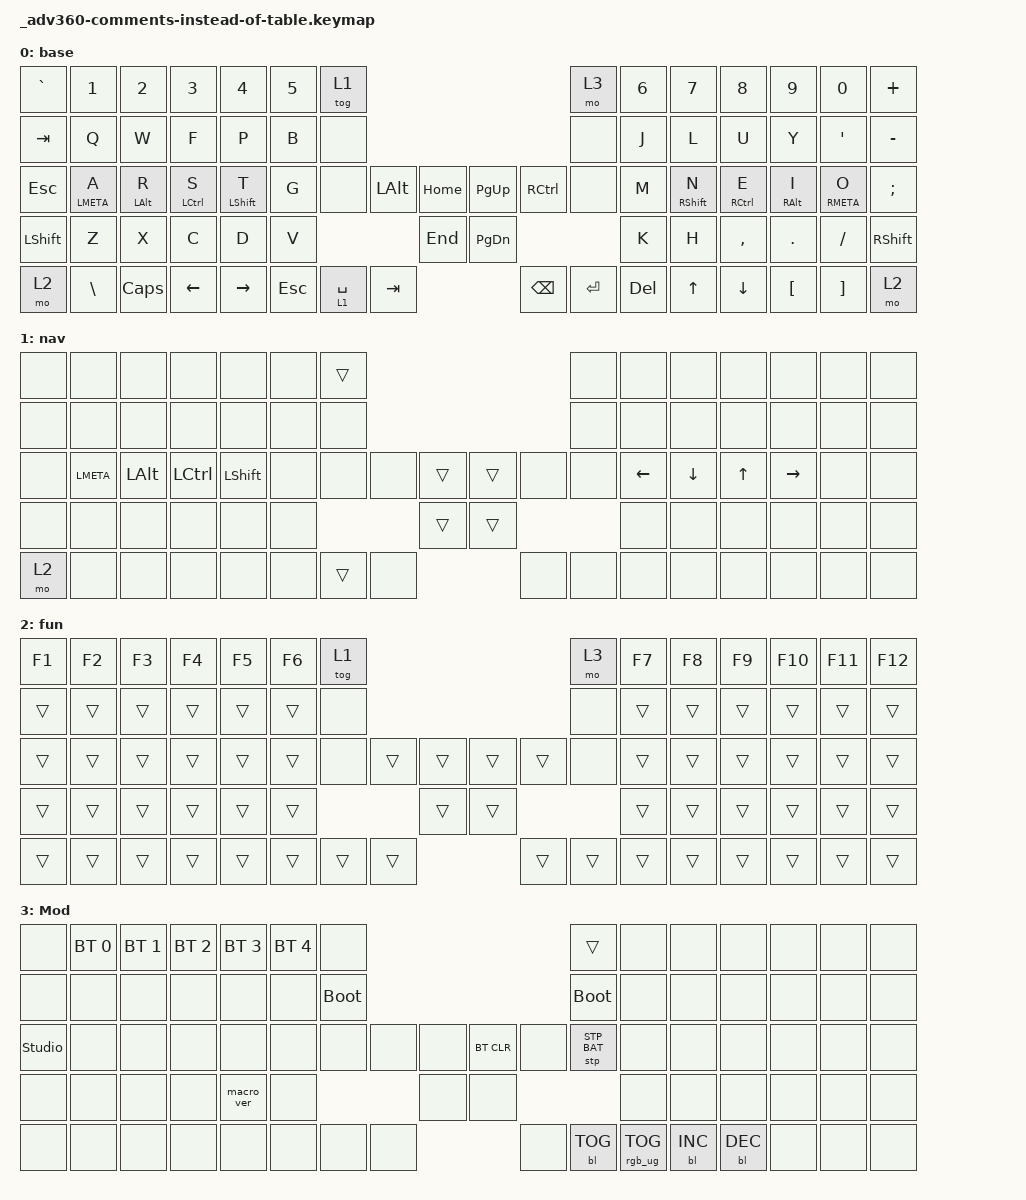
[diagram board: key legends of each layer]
#include <behaviors.dtsi>
#include <dt-bindings/zmk/stp.h>
#include <dt-bindings/zmk/backlight.h>
#include <dt-bindings/zmk/bt.h>
#include <dt-bindings/zmk/keys.h>
#include <dt-bindings/zmk/rgb.h>

// key position indices for setting valid hold triggers
// see assets/key-positions.png

/ {
    behaviors {
        #include "macros.dtsi"
        #include "version.dtsi"

        hm: homerow_mods {
            compatible = "zmk,behavior-hold-tap";
            //label = "HOMEROW_MODS"; // warning says label marked as deprecated
            flavor = "tap-preferred";
            tapping-term-ms = <200>;
            quick_tap_ms = <175>;
            #binding-cells = <2>;
            bindings = <&kp>, <&kp>;
        };
        slt: spacebar_layer_tap {
            compatible = "zmk,behavior-hold-tap";
            //label = "SPACE_LAYER_TAP";
            flavor = "tap-preferred";
            tapping-term-ms = <200>;
            //quick-tap-ms = <175>;
            //global-quick-tap;
            #binding-cells = <2>;
            bindings = <&mo>, <&kp>;
        };
    };

    keymap {
        compatible = "zmk,keymap";
        default_layer {
            display-name = "base";
            bindings = <
//┌ ─────── ┬ ───────── ┬ ──────── ┬ ───────── ┬ ───────── ┬ ──── ┬ ──── ┐                                                            ┌ ──── ┬ ──── ┬ ───────── ┬ ───────── ┬ ──────── ┬ ───────── ┬ ────────┐
   &kp GRAVE &kp N1      &kp N2     &kp N3      &kp N4      &kp N5 &tog 1                                                              &mo 3  &kp N6 &kp N7      &kp N8      &kp N9     &kp N0      &kp PLUS
//├ ─────── ┼ ───────── ┼ ──────── ┼ ───────── ┼ ───────── ┼ ──── ┼ ──── ┤                                                            ├ ──── ┼ ──── ┼ ───────── ┼ ───────── ┼ ──────── ┼ ───────── ┼ ────────┤
   &kp TAB   &kp Q       &kp W      &kp F       &kp P       &kp B  &none                                                               &none  &kp J  &kp L       &kp U       &kp Y      &kp SQT     &kp MINUS
//├ ─────── ┼ ───────── ┼ ──────── ┼ ───────── ┼ ───────── ┼ ──── ┼ ──── ┤        ┌ ───────── ┬ ─────── ┐┌ ─────── ┬ ─────── ┐        ├ ──── ┼ ──── ┼ ───────── ┼ ───────── ┼ ──────── ┼ ───────── ┼ ────────┤
   &kp ESC   &hm LMETA A &hm LALT R &hm LCTRL S &hm LSHFT T &kp G  &none           &kp LALT     &kp HOME  &kp PG_UP &kp RCTRL          &none  &kp M  &hm RSHFT N &hm RCTRL E &hm RALT I &hm RMETA O &kp SEMI
//├ ─────── ┼ ───────── ┼ ──────── ┼ ───────── ┼ ───────── ┼ ──── ┼ ──── ┘┌ ───── ┼ ───────── ┼ ─────── ┤├ ─────── ┼ ─────── ┼ ───── ┐└ ──── ┼ ──── ┼ ───────── ┼ ───────── ┼ ──────── ┼ ───────── ┼ ────────┤
   &kp LSHFT &kp Z       &kp X      &kp C       &kp D       &kp V                               &kp END   &kp PG_DN                           &kp K  &kp H       &kp COMMA   &kp DOT    &kp FSLH    &kp RSHFT
//├ ─────── ┼ ───────── ┼ ──────── ┼ ───────── ┼ ───────── ┼ ──── ┘       │       │           ┼ ─────── ┤├ ─────── ┼         │       │       └ ──── ┼ ───────── ┼ ───────── ┼ ──────── ┼ ───────── ┼ ────────┤
   &mo 2     &kp BSLH    &kp CAPS   &kp LEFT    &kp RIGHT                  &kp ESC &slt 1 SPACE &kp TAB   &kp BSPC  &kp ENTER &kp DEL                &kp UP      &kp DOWN    &kp LBKT    &kp RBKT   &mo 2
//└ ─────── ┴ ───────── ┴ ──────── ┴ ───────── ┴ ───────── ┘              └ ───── ┴ ───────── ┴ ─────── ┘└ ─────── ┴ ─────── ┴ ───── ┘              └ ───────── ┴ ───────── ┴ ──────── ┴ ───────── ┴ ─────── ┘
            >;
        };

        nav {
            display-name = "nav";
            bindings = <
//┌ ─────── ┬ ───────── ┬ ──────── ┬ ───────── ┬ ───────── ┬ ──── ┬ ──── ┐                                                            ┌ ──── ┬ ────── ┬ ───────── ┬ ───────── ┬ ──────── ┬ ───────── ┬ ────────┐
   &none     &none       &none      &none       &none       &none  &trans                                                              &none  &none    &none       &none       &none      &none       &none
//├ ─────── ┼ ───────── ┼ ──────── ┼ ───────── ┼ ───────── ┼ ──── ┼ ──── ┤                                                            ├ ──── ┼ ────── ┼ ───────── ┼ ───────── ┼ ──────── ┼ ───────── ┼ ────────┤
   &none     &none       &none      &none       &none       &none  &none                                                               &none  &none    &none       &none       &none      &none       &none
//├ ─────── ┼ ───────── ┼ ──────── ┼ ───────── ┼ ───────── ┼ ──── ┼ ──── ┤        ┌ ───────── ┬ ─────── ┐┌ ─────── ┬ ─────── ┐        ├ ──── ┼ ────── ┼ ───────── ┼ ───────── ┼ ──────── ┼ ───────── ┼ ────────┤
   &none     &kp LMETA   &kp LALT   &kp LCTRL   &kp LSHFT   &none  &none           &none       &trans     &trans    &none              &none  &kp LEFT &kp DOWN    &kp UP      &kp RIGHT  &none       &none
//├ ─────── ┼ ───────── ┼ ──────── ┼ ───────── ┼ ───────── ┼ ──── ┼ ──── ┘┌ ───── ┼ ───────── ┼ ─────── ┤├ ─────── ┼ ─────── ┼ ───── ┐└ ─────┼ ────── ┼ ───────── ┼ ───────── ┼ ──────── ┼ ───────── ┼ ────────┤
   &none     &none       &none      &none       &none       &none                              &trans     &trans                              &none    &none       &none       &none      &none       &none
//├ ─────── ┼ ───────── ┼ ──────── ┼ ───────── ┼ ───────── ┼ ──── ┘       │       │           ┼ ─────── ┤├ ─────── ┼         │       │       └ ────── ┼ ───────── ┼ ───────── ┼ ──────── ┼ ───────── ┼ ────────┤
   &mo 2     &none       &none      &none       &none                      &none   &trans      &none      &none     &none     &none                    &none       &none       &none      &none       &none
//└ ─────── ┴ ───────── ┴ ──────── ┴ ───────── ┴ ───────── ┘              └ ───── ┴ ───────── ┴ ─────── ┘└ ─────── ┴ ─────── ┴ ───── ┘                └ ───────── ┴ ───────── ┴ ──────── ┴ ───────── ┴ ─────── ┘
            >;
        };

        fun {
            display-name = "fun";
            bindings = <
&kp F1  &kp F2  &kp F3  &kp F4  &kp F5  &kp F6  &tog 1                                      &mo 3   &kp F7  &kp F8  &kp F9  &kp F10  &kp F11  &kp F12
&trans  &trans  &trans  &trans  &trans  &trans  &none                                       &none   &trans  &trans  &trans  &trans   &trans   &trans
&trans  &trans  &trans  &trans  &trans  &trans  &none   &trans  &trans      &trans  &trans  &none   &trans  &trans  &trans  &trans   &trans   &trans
&trans  &trans  &trans  &trans  &trans  &trans                  &trans      &trans                  &trans  &trans  &trans  &trans   &trans   &trans
&trans  &trans  &trans  &trans  &trans          &trans  &trans  &trans      &trans  &trans  &trans          &trans  &trans  &trans   &trans   &trans
            >;
        };

        mod {
            display-name = "Mod";
            bindings = <
&none           &bt BT_SEL 0  &bt BT_SEL 1  &bt BT_SEL 2  &bt BT_SEL 3  &bt BT_SEL 4  &none                                                  &trans           &none  &none       &none       &none  &none  &none
&none           &none         &none         &none         &none         &none         &bootloader                                            &bootloader      &none  &none       &none       &none  &none  &none
&studio_unlock  &none         &none         &none         &none         &none         &none        &none  &none      &bt BT_CLR  &none       &stp STP_BAT     &none  &none       &none       &none  &none  &none
&none           &none         &none         &none         &macro_ver    &none                             &none      &none                                    &none  &none       &none       &none  &none  &none
&none           &none         &none         &none         &none                       &none        &none  &none      &none       &bl BL_TOG  &rgb_ug RGB_TOG         &bl BL_INC  &bl BL_DEC  &none  &none  &none
            >;
        };

        extra1 {
            display-name = "Red";
            status = "reserved";
        };

        extra2 {
            display-name = "Purple";
            status = "reserved";
        };

        extra3 {
            display-name = "Cyan";
            status = "reserved";
        };

        extra4 {
            display-name = "Yellow";
            status = "reserved";
        };
    };
};
